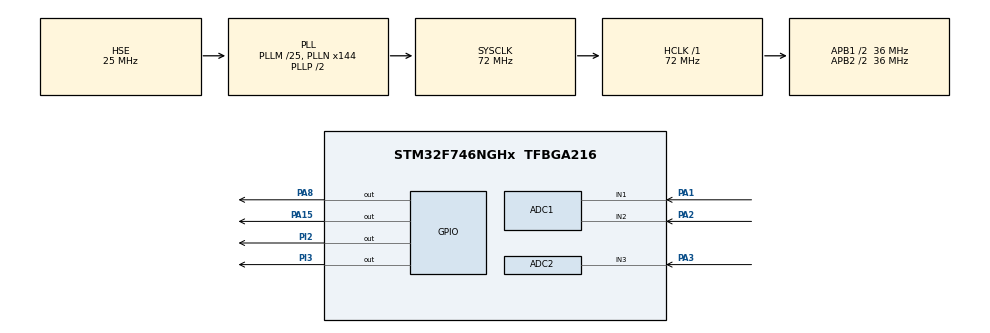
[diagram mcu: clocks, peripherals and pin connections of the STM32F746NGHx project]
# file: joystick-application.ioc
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ADC1.Channel-0\#ChannelRegularConversion=ADC_CHANNEL_1
ADC1.Channel-1\#ChannelRegularConversion=ADC_CHANNEL_2
ADC1.ContinuousConvMode=ENABLE
ADC1.InjNumberOfConversion=0
ADC1.NbrOfConversion=2
ADC1.NbrOfConversionFlag=1
ADC1.Rank-0\#ChannelRegularConversion=1
ADC1.Rank-1\#ChannelRegularConversion=2
ADC1.SamplingTime-0\#ChannelRegularConversion=ADC_SAMPLETIME_480CYCLES
ADC1.SamplingTime-1\#ChannelRegularConversion=ADC_SAMPLETIME_480CYCLES
ADC1.master=1
ADC2.Channel-0\#ChannelRegularConversion=ADC_CHANNEL_3
ADC2.ContinuousConvMode=ENABLE
ADC2.NbrOfConversionFlag=1
ADC2.Rank-0\#ChannelRegularConversion=1
ADC2.SamplingTime-0\#ChannelRegularConversion=ADC_SAMPLETIME_480CYCLES
Dma.ADC1.0.Direction=DMA_PERIPH_TO_MEMORY
Dma.ADC1.0.FIFOMode=DMA_FIFOMODE_DISABLE
Dma.ADC1.0.Instance=DMA2_Stream0
Dma.ADC1.0.MemDataAlignment=DMA_MDATAALIGN_WORD
Dma.ADC1.0.MemInc=DMA_MINC_ENABLE
Dma.ADC1.0.Mode=DMA_CIRCULAR
Dma.ADC1.0.PeriphDataAlignment=DMA_PDATAALIGN_WORD
Dma.ADC1.0.PeriphInc=DMA_PINC_DISABLE
Dma.ADC1.0.Priority=DMA_PRIORITY_LOW
Dma.Request0=ADC1
Mcu.Family=STM32F7
Mcu.Name=STM32F746NGHx
Mcu.Package=TFBGA216
NVIC.DMA2_Stream0_IRQn=true\:0\:0\:false\:false\:true\:false\:true\:true
NVIC.PriorityGroup=NVIC_PRIORITYGROUP_4
PA1.Signal=ADCx_IN1
PA13.Mode=Serial_Wire
PA13.Signal=SYS_JTMS-SWDIO
PA14.Mode=Serial_Wire
PA14.Signal=SYS_JTCK-SWCLK
PA15.Signal=GPIO_Output
PA2.Signal=ADCx_IN2
PA3.Signal=ADCx_IN3
PA8.Signal=GPIO_Output
PH0/OSC_IN.Mode=HSE-External-Oscillator
PH0/OSC_IN.Signal=RCC_OSC_IN
PH1/OSC_OUT.Mode=HSE-External-Oscillator
PH1/OSC_OUT.Signal=RCC_OSC_OUT
PI2.Signal=GPIO_Output
PI3.Signal=GPIO_Output
ProjectManager.HeapSize=0x200
ProjectManager.StackSize=0x400
ProjectManager.TargetToolchain=STM32CubeIDE
RCC.AHBFreq_Value=72000000
RCC.APB1CLKDivider=RCC_HCLK_DIV2
RCC.APB1Freq_Value=36000000
RCC.APB1TimFreq_Value=72000000
RCC.APB2CLKDivider=RCC_HCLK_DIV2
RCC.APB2Freq_Value=36000000
RCC.APB2TimFreq_Value=72000000
RCC.CortexFreq_Value=72000000
RCC.HCLKFreq_Value=72000000
RCC.HSE_VALUE=25000000
RCC.HSI_VALUE=16000000
RCC.PLL48CLockSelection=RCC_CLK48SOURCE_PLLSAIP
RCC.PLLI2SN=100
RCC.PLLM=25
RCC.PLLN=144
RCC.PLLQ=9
RCC.PLLSAIN=384
RCC.PLLSAIP=RCC_PLLSAIP_DIV8
RCC.PLLSAIR=5
RCC.PLLSAIRDiv=RCC_PLLSAIDIVR_8
RCC.PLLSourceVirtual=RCC_PLLSOURCE_HSE
RCC.SDMMCClockSelection=RCC_SDMMC1CLKSOURCE_CLK48
RCC.SYSCLKFreq_VALUE=72000000
RCC.SYSCLKSource=RCC_SYSCLKSOURCE_PLLCLK
RCC.USBFreq_Value=48000000
RCC.VCOOutputFreq_Value=144000000
SH.ADCx_IN1.0=ADC1_IN1,IN1
SH.ADCx_IN2.0=ADC1_IN2,IN2
SH.ADCx_IN3.0=ADC2_IN3,IN3
board=STM32F746G-DISCO

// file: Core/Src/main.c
/* USER CODE BEGIN Header */
/**
  ******************************************************************************
  * @file           : main.c
  * @brief          : Main program body
  ******************************************************************************
  * @attention
  *
  * Copyright (c) 2022 STMicroelectronics.
  * All rights reserved.
  *
  * This software is licensed under terms that can be found in the LICENSE file
  * in the root directory of this software component.
  * If no LICENSE file comes with this software, it is provided AS-IS.
  *
  ******************************************************************************
  */
/* USER CODE END Header */
#include "main.h"

 ADC_HandleTypeDef hadc1;
ADC_HandleTypeDef hadc2;
DMA_HandleTypeDef hdma_adc1;

/* USER CODE BEGIN PV */
uint16_t readValueX;
uint16_t readValueY;

/* USER CODE END PV */

void SystemClock_Config(void);
static void MX_GPIO_Init(void);
static void MX_DMA_Init(void);
static void MX_ADC1_Init(void);
static void MX_ADC2_Init(void);

/* USER CODE BEGIN 0 */
uint32_t VR[2];

/* USER CODE END 0 */

int main(void)
{

  /* MCU Configuration--------------------------------------------------------*/

  /* Reset of all peripherals, Initializes the Flash interface and the Systick. */
  HAL_Init();

  /* Configure the system clock */
  SystemClock_Config();

  /* Initialize all configured peripherals */
  MX_GPIO_Init();
  MX_DMA_Init();
  MX_ADC1_Init();
  MX_ADC2_Init();
  /* USER CODE BEGIN 2 */
  HAL_ADC_Start_DMA(&hadc1, VR, 2);  // start adc in dma mode for multichannel
  HAL_ADC_Start(&hadc2);

  /* USER CODE END 2 */

  /* Infinite loop */
  while (1)
  {

    /* USER CODE BEGIN 3 */
	  HAL_ADC_PollForConversion(&hadc1,1000);
	    readValueX = HAL_ADC_GetValue(&hadc1);
	    HAL_ADC_PollForConversion(&hadc2,1000);
	        readValueY = HAL_ADC_GetValue(&hadc2);
	    HAL_Delay(100);
	  if ((VR[0]>=2000)&&(VR[0]<=3000))   // if the value is between 2000 to 3000
	  	  {
	  		  HAL_GPIO_WritePin(GPIOA, GPIO_PIN_15, GPIO_PIN_RESET);  // turn of xmin led
	  		  HAL_GPIO_WritePin(GPIOA, GPIO_PIN_8, GPIO_PIN_RESET);  // turn of xplus led
	  	  }

	  else if ((VR[1]>=2000) && (VR[1]<=3000))
	  	  {
	  		  HAL_GPIO_WritePin(GPIOI, GPIO_PIN_2, GPIO_PIN_RESET);  // turn off ymin
	  		  HAL_GPIO_WritePin(GPIOI, GPIO_PIN_3, GPIO_PIN_RESET);  // turn of yplus
	  	  }
	  else if ((VR[0]>=4000))  // towards PIN 8
	  		  {
	  		HAL_GPIO_WritePin(GPIOA, GPIO_PIN_15, GPIO_PIN_RESET);
	  		HAL_GPIO_WritePin(GPIOA, GPIO_PIN_8, GPIO_PIN_SET);
	  		  }
	  else if ((VR[0]<=800))  // towards PIN 15
	  		  {
	  			 HAL_GPIO_WritePin(GPIOA, GPIO_PIN_15, GPIO_PIN_SET);
	  			 HAL_GPIO_WritePin(GPIOA, GPIO_PIN_8, GPIO_PIN_RESET);
	  		  }
	  else if ((VR[1]>=4000))   // towards PIN 3
	  		  {
	  			  HAL_GPIO_WritePin(GPIOI, GPIO_PIN_2, GPIO_PIN_RESET);
	  			  HAL_GPIO_WritePin(GPIOI, GPIO_PIN_3, GPIO_PIN_SET);
	  		  }
	  else if ((VR[1]<=800))  // TOWARDS PIN 2
	  		  {
	  			  HAL_GPIO_WritePin(GPIOI, GPIO_PIN_2, GPIO_PIN_SET);
	  			  HAL_GPIO_WritePin(GPIOI, GPIO_PIN_3, GPIO_PIN_RESET);
	  		  }

  }
  /* USER CODE END 3 */
}

void SystemClock_Config(void)
{
  RCC_OscInitTypeDef RCC_OscInitStruct = {0};
  RCC_ClkInitTypeDef RCC_ClkInitStruct = {0};

  /** Configure the main internal regulator output voltage
  */
  __HAL_RCC_PWR_CLK_ENABLE();
  __HAL_PWR_VOLTAGESCALING_CONFIG(PWR_REGULATOR_VOLTAGE_SCALE3);

  /** Initializes the RCC Oscillators according to the specified parameters
  * in the RCC_OscInitTypeDef structure.
  */
  RCC_OscInitStruct.OscillatorType = RCC_OSCILLATORTYPE_HSE;
  RCC_OscInitStruct.HSEState = RCC_HSE_ON;
  RCC_OscInitStruct.PLL.PLLState = RCC_PLL_ON;
  RCC_OscInitStruct.PLL.PLLSource = RCC_PLLSOURCE_HSE;
  RCC_OscInitStruct.PLL.PLLM = 25;
  RCC_OscInitStruct.PLL.PLLN = 144;
  RCC_OscInitStruct.PLL.PLLP = RCC_PLLP_DIV2;
  RCC_OscInitStruct.PLL.PLLQ = 9;
  if (HAL_RCC_OscConfig(&RCC_OscInitStruct) != HAL_OK)
  {
    Error_Handler();
  }

  /** Initializes the CPU, AHB and APB buses clocks
  */
  RCC_ClkInitStruct.ClockType = RCC_CLOCKTYPE_HCLK|RCC_CLOCKTYPE_SYSCLK
                              |RCC_CLOCKTYPE_PCLK1|RCC_CLOCKTYPE_PCLK2;
  RCC_ClkInitStruct.SYSCLKSource = RCC_SYSCLKSOURCE_PLLCLK;
  RCC_ClkInitStruct.AHBCLKDivider = RCC_SYSCLK_DIV1;
  RCC_ClkInitStruct.APB1CLKDivider = RCC_HCLK_DIV2;
  RCC_ClkInitStruct.APB2CLKDivider = RCC_HCLK_DIV2;

  if (HAL_RCC_ClockConfig(&RCC_ClkInitStruct, FLASH_LATENCY_2) != HAL_OK)
  {
    Error_Handler();
  }
}

static void MX_ADC1_Init(void)
{

  ADC_ChannelConfTypeDef sConfig = {0};

  /** Configure the global features of the ADC (Clock, Resolution, Data Alignment and number of conversion)
  */
  hadc1.Instance = ADC1;
  hadc1.Init.ClockPrescaler = ADC_CLOCK_SYNC_PCLK_DIV2;
  hadc1.Init.Resolution = ADC_RESOLUTION_12B;
  hadc1.Init.ScanConvMode = ADC_SCAN_ENABLE;
  hadc1.Init.ContinuousConvMode = ENABLE;
  hadc1.Init.DiscontinuousConvMode = DISABLE;
  hadc1.Init.ExternalTrigConvEdge = ADC_EXTERNALTRIGCONVEDGE_NONE;
  hadc1.Init.ExternalTrigConv = ADC_SOFTWARE_START;
  hadc1.Init.DataAlign = ADC_DATAALIGN_RIGHT;
  hadc1.Init.NbrOfConversion = 2;
  hadc1.Init.DMAContinuousRequests = DISABLE;
  hadc1.Init.EOCSelection = ADC_EOC_SINGLE_CONV;
  if (HAL_ADC_Init(&hadc1) != HAL_OK)
  {
    Error_Handler();
  }

  /** Configure for the selected ADC regular channel its corresponding rank in the sequencer and its sample time.
  */
  sConfig.Channel = ADC_CHANNEL_1;
  sConfig.Rank = ADC_REGULAR_RANK_1;
  sConfig.SamplingTime = ADC_SAMPLETIME_480CYCLES;
  if (HAL_ADC_ConfigChannel(&hadc1, &sConfig) != HAL_OK)
  {
    Error_Handler();
  }

  /** Configure for the selected ADC regular channel its corresponding rank in the sequencer and its sample time.
  */
  sConfig.Channel = ADC_CHANNEL_2;
  sConfig.Rank = ADC_REGULAR_RANK_2;
  if (HAL_ADC_ConfigChannel(&hadc1, &sConfig) != HAL_OK)
  {
    Error_Handler();
  }

}

static void MX_ADC2_Init(void)
{

  ADC_ChannelConfTypeDef sConfig = {0};

  /** Configure the global features of the ADC (Clock, Resolution, Data Alignment and number of conversion)
  */
  hadc2.Instance = ADC2;
  hadc2.Init.ClockPrescaler = ADC_CLOCK_SYNC_PCLK_DIV2;
  hadc2.Init.Resolution = ADC_RESOLUTION_12B;
  hadc2.Init.ScanConvMode = ADC_SCAN_DISABLE;
  hadc2.Init.ContinuousConvMode = ENABLE;
  hadc2.Init.DiscontinuousConvMode = DISABLE;
  hadc2.Init.ExternalTrigConvEdge = ADC_EXTERNALTRIGCONVEDGE_NONE;
  hadc2.Init.ExternalTrigConv = ADC_SOFTWARE_START;
  hadc2.Init.DataAlign = ADC_DATAALIGN_RIGHT;
  hadc2.Init.NbrOfConversion = 1;
  hadc2.Init.DMAContinuousRequests = DISABLE;
  hadc2.Init.EOCSelection = ADC_EOC_SINGLE_CONV;
  if (HAL_ADC_Init(&hadc2) != HAL_OK)
  {
    Error_Handler();
  }

  /** Configure for the selected ADC regular channel its corresponding rank in the sequencer and its sample time.
  */
  sConfig.Channel = ADC_CHANNEL_3;
  sConfig.Rank = ADC_REGULAR_RANK_1;
  sConfig.SamplingTime = ADC_SAMPLETIME_480CYCLES;
  if (HAL_ADC_ConfigChannel(&hadc2, &sConfig) != HAL_OK)
  {
    Error_Handler();
  }

}

static void MX_DMA_Init(void)
{

  /* DMA controller clock enable */
  __HAL_RCC_DMA2_CLK_ENABLE();

  /* DMA interrupt init */
  /* DMA2_Stream0_IRQn interrupt configuration */
  HAL_NVIC_SetPriority(DMA2_Stream0_IRQn, 0, 0);
  HAL_NVIC_EnableIRQ(DMA2_Stream0_IRQn);

}

static void MX_GPIO_Init(void)
{
  GPIO_InitTypeDef GPIO_InitStruct = {0};

  /* GPIO Ports Clock Enable */
  __HAL_RCC_GPIOA_CLK_ENABLE();
  __HAL_RCC_GPIOI_CLK_ENABLE();
  __HAL_RCC_GPIOH_CLK_ENABLE();

  /*Configure GPIO pin Output Level */
  HAL_GPIO_WritePin(GPIOA, GPIO_PIN_15|GPIO_PIN_8, GPIO_PIN_RESET);

  /*Configure GPIO pin Output Level */
  HAL_GPIO_WritePin(GPIOI, GPIO_PIN_3|GPIO_PIN_2, GPIO_PIN_RESET);

  /*Configure GPIO pins : PA15 PA8 */
  GPIO_InitStruct.Pin = GPIO_PIN_15|GPIO_PIN_8;
  GPIO_InitStruct.Mode = GPIO_MODE_OUTPUT_PP;
  GPIO_InitStruct.Pull = GPIO_NOPULL;
  GPIO_InitStruct.Speed = GPIO_SPEED_FREQ_LOW;
  HAL_GPIO_Init(GPIOA, &GPIO_InitStruct);

  /*Configure GPIO pins : PI3 PI2 */
  GPIO_InitStruct.Pin = GPIO_PIN_3|GPIO_PIN_2;
  GPIO_InitStruct.Mode = GPIO_MODE_OUTPUT_PP;
  GPIO_InitStruct.Pull = GPIO_NOPULL;
  GPIO_InitStruct.Speed = GPIO_SPEED_FREQ_LOW;
  HAL_GPIO_Init(GPIOI, &GPIO_InitStruct);

}

void Error_Handler(void)
{
  __disable_irq();
  while (1)
  {
  }
}
